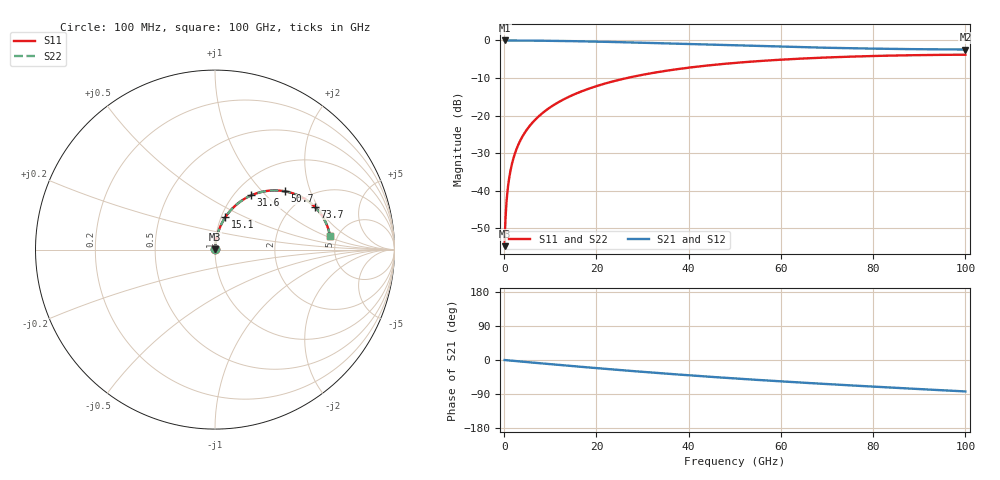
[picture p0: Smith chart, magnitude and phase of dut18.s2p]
! Touchstone file exported from HFSS 2026.1.0
!  File:  C:/ffzhzh/LocalFiles/Ansys_Project_Files/temp_train_RDL_18_1783497756_41296.aedt
!  Generated:  04:03:43 PM Jul  8, 2026
!  Design:  RDL
!  Project:  temp_train_RDL_18_1783497756_41296
! Variables:
!  h_bsmrdl = 2um
!  h_ox = 20um
!  h_rdl = 5um
!  h_sub = 80um
!  h_tmrdl = 4.64um
!  h_tsv = 80um
!  h_via = 3um
!  l_bsmrdl = 300um
!  l_sub = 646.32um
!  l_tmrdl = 246.32um
!  m_sub = 200um
!  pitch = 56.75um
!  r_tsv = 6um
!  s_tmrdl = 10um
!  w_bsmrdl = 18um
!  w_sub = 500um
!  w_tmrdl = 18.45um
!  x_tsv_center1 = 255.545um
!  x_tsv_center2 = 573.545um
!  x_tsv_center3 = 838.315um
!  x_tsv_center4 = 1156.315um
!  x_tsv_center5 = 1421.085um
!  x_tsv_center6 = 1739.085um
# GHz S MA R 50.000000
! Terminal data exported
! Port[1] = TM_RDL1_1_T1
! Port[2] = TM_RDL1_1_T2
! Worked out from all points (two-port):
!   1000 points, 100 MHz to 100 GHz, reference 50 ohm
!   highest |S21| = -0.01 dB at 100 MHz (marker M1); lowest = -2.4 dB at 100 GHz (marker M2)
!   |S21| within 3 dB of the highest: start of sweep to end of sweep
!   lowest |S11| = -54.8 dB at 100 MHz (marker M3), VSWR 1.00, Z = 50.1 + j0.141 ohm
!   |S11| at or under -10 dB: start of sweep to 26.68 GHz
!   |S22| runs from -54.8 to -3.8 dB; largest |S21 - S12| = 5.4e-15
!   S11 on the Smith chart (normalised r, x): 100 MHz: 1.00, +0.00; 15.1 GHz: 1.05, +0.39; 31.6 GHz: 1.19, +0.83; 50.7 GHz: 1.55, +1.35; 73.7 GHz: 2.48, +1.87; 100 GHz: 4.34, +1.11
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0.1  0.001821 50.4  0.9988 -0.1  0.9988 -0.1  0.001821 50.4
! Gamma 0 0 0 0
! Port Impedance 50 0 50 0
0.4  0.005613 76.3  0.9987 -0.5  0.9987 -0.5  0.005613 76.3
0.8  0.01086 81.8  0.9986 -0.9  0.9986 -0.9  0.01086 81.8
1  0.01351 82.9  0.9985 -1.1  0.9985 -1.1  0.01351 82.9
1.3  0.01748 83.7  0.9984 -1.5  0.9984 -1.5  0.01748 83.7
1.7  0.02279 84.2  0.9982 -1.9  0.9982 -1.9  0.02279 84.2
2.2  0.0294 84.3  0.9979 -2.5  0.9979 -2.5  0.0294 84.3
3.6  0.04776 83.5  0.9968 -4.0  0.9968 -4.0  0.04776 83.5
5.5  0.07227 81.7  0.9947 -6.1  0.9947 -6.1  0.07227 81.7
8  0.1039 79.3  0.9912 -8.8  0.9912 -8.8  0.1039 79.3
11.2  0.1435 76.1  0.9856 -12.2  0.9856 -12.2  0.1435 76.1
15.1  0.1902 72.2  0.977 -16.3  0.977 -16.3  0.1902 72.2
16.8  0.2099 70.5  0.9727 -18.1  0.9727 -18.1  0.2099 70.5
23.5  0.2837 63.9  0.9532 -24.9  0.9532 -24.9  0.2837 63.9
31.6  0.3632 56.3  0.9254 -32.7  0.9254 -32.7  0.3632 56.3
33.4  0.3793 54.6  0.9188 -34.4  0.9188 -34.4  0.3793 54.6
50.1  0.5021 40.5  0.8579 -48.7  0.8579 -48.7  0.502 40.5
50.7  0.5056 40.0  0.8558 -49.2  0.8558 -49.2  0.5056 40.0
66.7  0.5814 28.2  0.8067 -61.2  0.8067 -61.2  0.5813 28.2
73.7  0.6042 23.4  0.7899 -66.1  0.7899 -66.1  0.6042 23.4
83.4  0.6271 17.0  0.7721 -72.5  0.7721 -72.5  0.627 17.0
100  0.6453 6.6  0.7568 -83.0  0.7568 -83.0  0.6452 6.6
